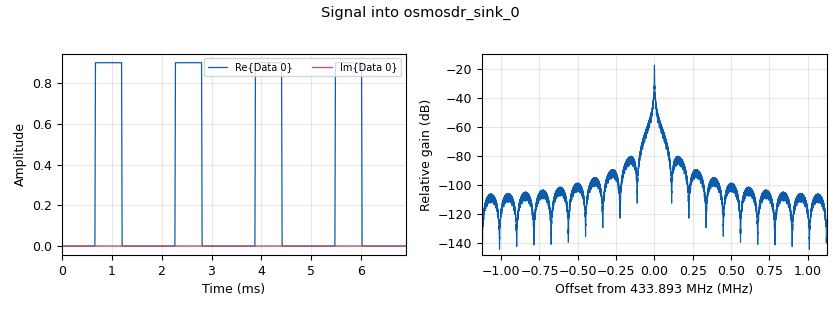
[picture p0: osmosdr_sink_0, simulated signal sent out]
<?xml version='1.0' encoding='utf-8'?>
<?grc format='1' created='3.7.7'?>
<flow_graph>
<block>
<key>variable</key>
<param><key>id</key><value>center_freq</value></param>
<param><key>value</key><value>433893000</value></param>
</block>
<block>
<key>variable</key>
<param><key>id</key><value>interp</value></param>
<param><key>value</key><value>1200</value></param>
</block>
<block>
<key>variable</key>
<param><key>id</key><value>baud_rate</value></param>
<param><key>value</key><value>1872</value></param>
</block>
<block>
<key>variable</key>
<param><key>id</key><value>samp_rate</value></param>
<param><key>value</key><value>baud_rate*interp</value></param>
</block>
<block>
<key>qtgui_time_sink_x</key>
<param><key>id</key><value>qtgui_time_sink_x_0</value></param>
<param><key>_enabled</key><value>False</value></param>
<param><key>type</key><value>complex</value></param>
<param><key>size</key><value>1024</value></param>
<param><key>srate</key><value>samp_rate</value></param>
<param><key>label1</key><value></value></param>
<param><key>color1</key><value>"blue"</value></param>
<param><key>label2</key><value></value></param>
<param><key>color2</key><value>"red"</value></param>
</block>
<block>
<key>osmosdr_sink</key>
<param><key>id</key><value>osmosdr_sink_0</value></param>
<param><key>type</key><value>fc32</value></param>
<param><key>args</key><value></value></param>
<param><key>sync</key><value></value></param>
<param><key>sample_rate</key><value>samp_rate</value></param>
<param><key>freq0</key><value>center_freq</value></param>
<param><key>gain0</key><value>14</value></param>
<param><key>if_gain0</key><value>40</value></param>
<param><key>bb_gain0</key><value>40</value></param>
<param><key>bw0</key><value>2000000</value></param>
</block>
<block>
<key>qtgui_sink_x</key>
<param><key>id</key><value>qtgui_sink_x_0</value></param>
<param><key>_enabled</key><value>False</value></param>
<param><key>type</key><value>complex</value></param>
<param><key>fftsize</key><value>1024</value></param>
<param><key>wintype</key><value>firdes.WIN_BLACKMAN_hARRIS</value></param>
<param><key>fc</key><value>0</value></param>
<param><key>bw</key><value>samp_rate</value></param>
<param><key>freqchangevar</key><value>None</value></param>
<param><key>showports</key><value>True</value></param>
</block>
<block>
<key>blocks_complex_to_mag</key>
<param><key>id</key><value>blocks_complex_to_mag_0</value></param>
<param><key>_enabled</key><value>False</value></param>
</block>
<block>
<key>blocks_wavfile_sink</key>
<param><key>id</key><value>blocks_wavfile_sink_0</value></param>
<param><key>_enabled</key><value>False</value></param>
<param><key>file</key><value>/Users/adamcoddington/Desktop/output/3_out_test.wav</value></param>
<param><key>samp_rate</key><value>samp_rate</value></param>
<param><key>bits_per_sample</key><value>16</value></param>
</block>
<block>
<key>blocks_repeat</key>
<param><key>id</key><value>blocks_repeat_0</value></param>
<param><key>type</key><value>complex</value></param>
<param><key>interp</key><value>interp</value></param>
</block>
<block>
<key>blocks_moving_average_xx</key>
<param><key>id</key><value>blocks_moving_average_xx_0</value></param>
<param><key>type</key><value>complex</value></param>
<param><key>length</key><value>20</value></param>
<param><key>scale</key><value>0.9/20</value></param>
<param><key>max_iter</key><value>4000</value></param>
</block>
<block>
<key>options</key>
<param><key>id</key><value>stanley_tx</value></param>
<param><key>generate_options</key><value>no_gui</value></param>
<param><key>category</key><value>Custom</value></param>
<param><key>run_options</key><value>run</value></param>
</block>
<block>
<key>blocks_vector_source_x</key>
<param><key>id</key><value>blocks_vector_source_x_0</value></param>
<param><key>type</key><value>complex</value></param>
<param><key>vector</key><value>(([1, 0, 0, 1, 1, 0, 1, 0, 0, 1, 1, 0, 1, 0, 0, 1, 1, 0, 1, 0, 0, 1, 1, 0, 1, 0, 0, 1, 0, 0, 1, 0, 0, 1, 0, 0, 1, 1, 0, 1, 1, 0, 1, 0, 0, 1, 1, 0, 1, 0, 0, 1, 1, 0, 1, 0, 0, 1, 0, 0, 1, 0, 0, 1, 0, 0, 1, 0, 0, 1, 0, 0, 1] + [0]*25) * 100)</value></param>
<param><key>repeat</key><value>False</value></param>
</block>
<connection><source_block_id>blocks_moving_average_xx_0</source_block_id><sink_block_id>qtgui_sink_x_0</sink_block_id><source_key>0</source_key><sink_key>0</sink_key></connection>
<connection><source_block_id>blocks_moving_average_xx_0</source_block_id><sink_block_id>qtgui_time_sink_x_0</sink_block_id><source_key>0</source_key><sink_key>0</sink_key></connection>
<connection><source_block_id>blocks_moving_average_xx_0</source_block_id><sink_block_id>osmosdr_sink_0</sink_block_id><source_key>0</source_key><sink_key>0</sink_key></connection>
<connection><source_block_id>blocks_moving_average_xx_0</source_block_id><sink_block_id>blocks_complex_to_mag_0</sink_block_id><source_key>0</source_key><sink_key>0</sink_key></connection>
<connection><source_block_id>blocks_complex_to_mag_0</source_block_id><sink_block_id>blocks_wavfile_sink_0</sink_block_id><source_key>0</source_key><sink_key>0</sink_key></connection>
<connection><source_block_id>blocks_repeat_0</source_block_id><sink_block_id>blocks_moving_average_xx_0</sink_block_id><source_key>0</source_key><sink_key>0</sink_key></connection>
<connection><source_block_id>blocks_vector_source_x_0</source_block_id><sink_block_id>blocks_repeat_0</sink_block_id><source_key>0</source_key><sink_key>0</sink_key></connection>
</flow_graph>
